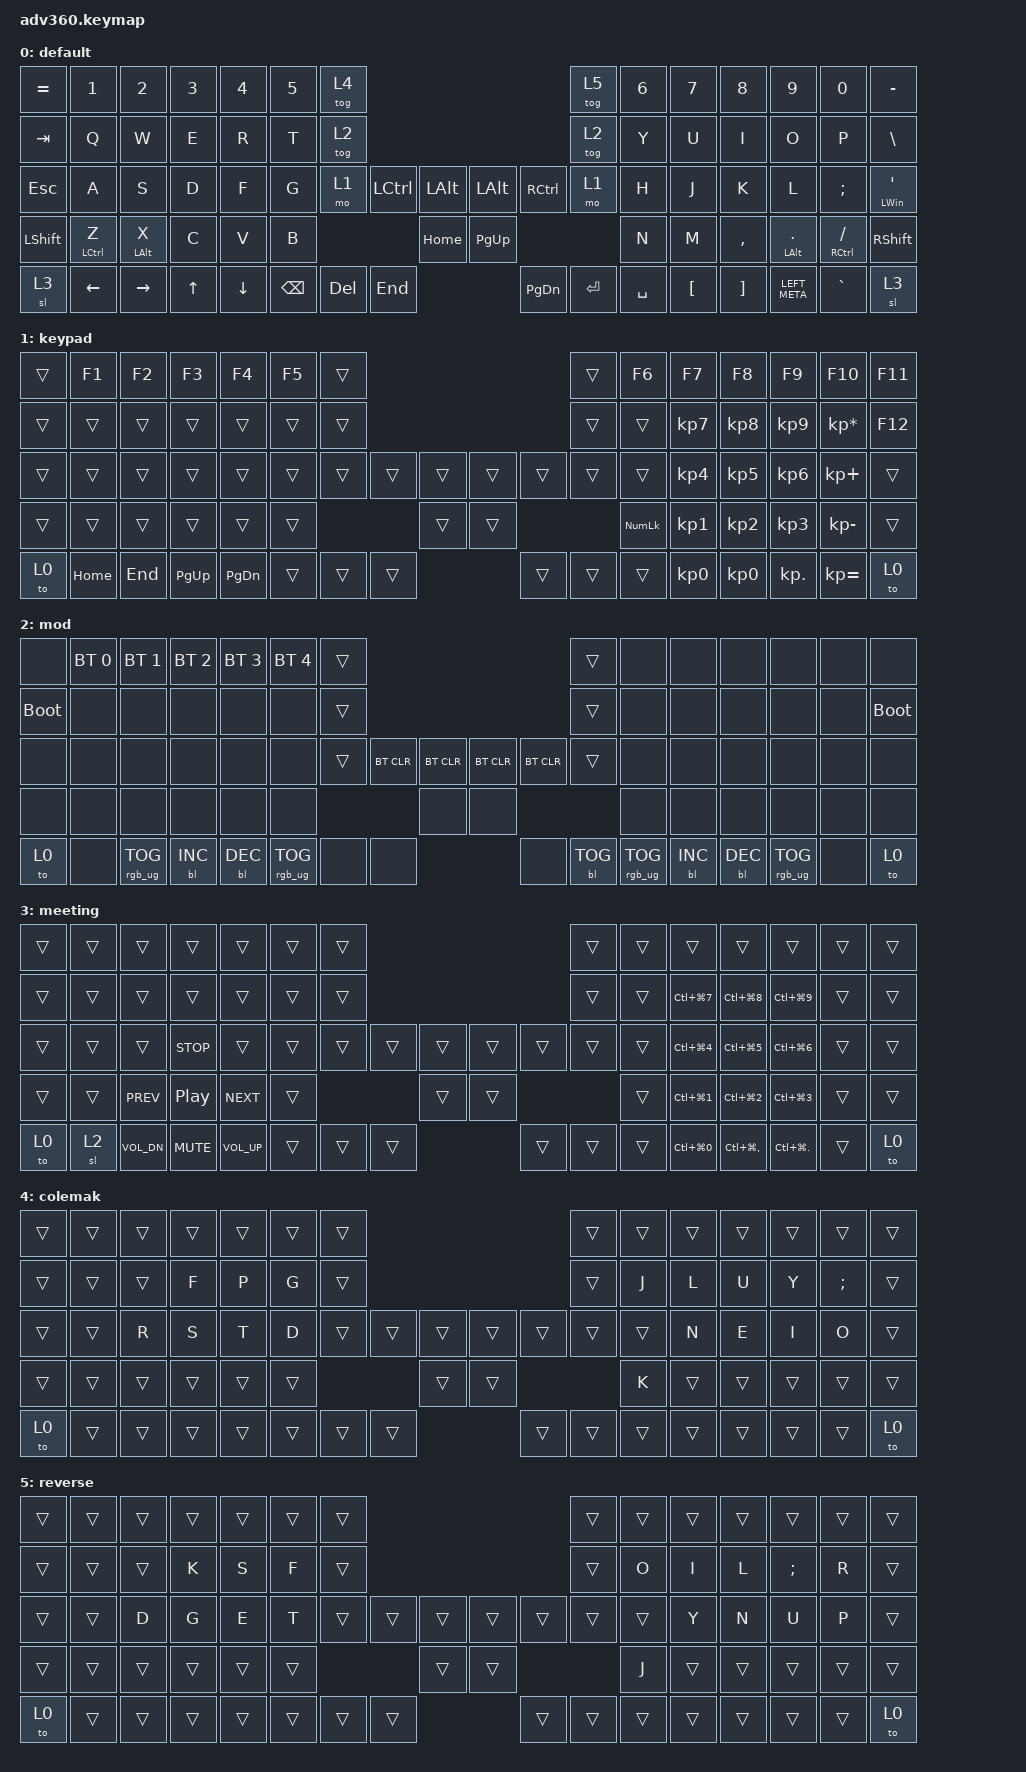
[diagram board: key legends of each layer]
/*
 * Copyright (c) 2020 The ZMK Contributors
 *
 * SPDX-License-Identifier: MIT
 */
/* THIS FILE WAS GENERATED!
 *
 * This file was generated automatically. You may or may not want to
 * edit it directly.
 */

#include <behaviors.dtsi>
#include <dt-bindings/zmk/backlight.h>
#include <dt-bindings/zmk/bt.h>
#include <dt-bindings/zmk/keys.h>
#include <dt-bindings/zmk/rgb.h>
#include <dt-bindings/zmk/stp.h>
#include <dt-bindings/zmk/backlight.h>
#include <dt-bindings/zmk/pointing.h>

/ {
    behaviors {
        #include "macros.dtsi"
    #include "version.dtsi"

        hm: homerow_mods {
            compatible = "zmk,behavior-hold-tap";
            label = "HOMEROW_MODS";
            #binding-cells = <2>;
            tapping-term-ms = <200>;
            quick_tap_ms = <175>;
            flavor = "tap-preferred";
            bindings = <&kp>, <&kp>;
        };
    };

    keymap {
        compatible = "zmk,keymap";

        default {
            bindings = <
&kp EQUAL  &kp N1              &kp N2          &kp N3  &kp N4    &kp N5  &tog 4                                                                    &tog 5  &kp N6  &kp N7    &kp N8     &kp N9               &kp N0                   &kp MINUS
&kp TAB    &kp Q               &kp W           &kp E   &kp R     &kp T   &tog 2                                                                    &tog 2  &kp Y   &kp U     &kp I      &kp O                &kp P                    &kp BSLH
&kp ESC    &kp A               &kp S           &kp D   &kp F     &kp G   &mo 1             &kp LCTRL  &kp LALT    &kp LALT   &kp RCTRL             &mo 1   &kp H   &kp J     &kp K      &kp L                &kp SEMI                 &hm LEFT_WIN APOSTROPHE
&kp LSHFT  &hm LEFT_CONTROL Z  &hm LEFT_ALT X  &kp C   &kp V     &kp B                                &kp HOME    &kp PG_UP                                &kp N   &kp M     &kp COMMA  &hm LEFT_ALT PERIOD  &hm RIGHT_CONTROL SLASH  &kp RSHFT
&sl 3      &kp LEFT            &kp RIGHT       &kp UP  &kp DOWN                  &kp BSPC  &kp DEL    &kp END     &kp PG_DN  &kp ENTER  &kp SPACE                  &kp LBKT  &kp RBKT   &kp LEFT_META        &kp GRAVE                &sl 3
            >;
        };

        keypad {
            bindings = <
&trans  &kp F1    &kp F2   &kp F3       &kp F4         &kp F5  &trans                                                    &trans  &kp F6      &kp F7     &kp F8     &kp F9      &kp F10          &kp F11
&trans  &trans    &trans   &trans       &trans         &trans  &trans                                                    &trans  &trans      &kp KP_N7  &kp KP_N8  &kp KP_N9   &kp KP_ASTERISK  &kp F12
&trans  &trans    &trans   &trans       &trans         &trans  &trans          &trans  &trans    &trans  &trans          &trans  &trans      &kp KP_N4  &kp KP_N5  &kp KP_N6   &kp KP_PLUS      &trans
&trans  &trans    &trans   &trans       &trans         &trans                          &trans    &trans                          &kp KP_NUM  &kp KP_N1  &kp KP_N2  &kp KP_N3   &kp KP_MINUS     &trans
&to 0   &kp HOME  &kp END  &kp PAGE_UP  &kp PAGE_DOWN                  &trans  &trans  &trans    &trans  &trans  &trans                      &kp KP_N0  &kp KP_N0  &kp KP_DOT  &kp KP_EQUAL     &to 0
            >;
        };

        mod {
            bindings = <
&none        &bt BT_SEL 0  &bt BT_SEL 1     &bt BT_SEL 2  &bt BT_SEL 3  &bt BT_SEL 4  &trans                                                                                      &trans  &none  &none       &none       &none            &none  &none
&bootloader  &none         &none            &none         &none         &none         &trans                                                                                      &trans  &none  &none       &none       &none            &none  &bootloader
&none        &none         &none            &none         &none         &none         &trans                   &bt BT_CLR  &bt BT_CLR    &bt BT_CLR  &bt BT_CLR                   &trans  &none  &none       &none       &none            &none  &none
&none        &none         &none            &none         &none         &none                                              &none         &none                                            &none  &none       &none       &none            &none  &none
&to 0        &none         &rgb_ug RGB_TOG  &bl BL_INC    &bl BL_DEC                          &rgb_ug RGB_TOG  &none       &none         &none       &bl BL_TOG  &rgb_ug RGB_TOG                 &bl BL_INC  &bl BL_DEC  &rgb_ug RGB_TOG  &none  &to 0
            >;
        };

        meeting {
            bindings = <
&trans  &trans  &trans        &trans      &trans        &trans  &trans                                                    &trans  &trans  &trans          &trans             &trans              &trans  &trans
&trans  &trans  &trans        &trans      &trans        &trans  &trans                                                    &trans  &trans  &kp LC(LG(N7))  &kp LC(LG(N8))     &kp LC(LG(N9))      &trans  &trans
&trans  &trans  &trans        &kp C_STOP  &trans        &trans  &trans          &trans  &trans    &trans  &trans          &trans  &trans  &kp LC(LG(N4))  &kp LC(LG(N5))     &kp LC(LG(N6))      &trans  &trans
&trans  &trans  &kp C_PREV    &kp C_PP    &kp C_NEXT    &trans                          &trans    &trans                          &trans  &kp LC(LG(N1))  &kp LC(LG(N2))     &kp LC(LG(N3))      &trans  &trans
&to 0   &sl 2   &kp C_VOL_DN  &kp C_MUTE  &kp C_VOL_UP                  &trans  &trans  &trans    &trans  &trans  &trans                  &kp LC(LG(N0))  &kp LC(LG(COMMA))  &kp LC(LG(PERIOD))  &trans  &to 0
            >;
        };

        colemak {
            bindings = <
&trans  &trans  &trans  &trans  &trans  &trans  &trans                                                    &trans  &trans  &trans  &trans  &trans  &trans         &trans
&trans  &trans  &trans  &kp F   &kp P   &kp G   &trans                                                    &trans  &kp J   &kp L   &kp U   &kp Y   &kp SEMICOLON  &trans
&trans  &trans  &kp R   &kp S   &kp T   &kp D   &trans          &trans  &trans    &trans  &trans          &trans  &trans  &kp N   &kp E   &kp I   &kp O          &trans
&trans  &trans  &trans  &trans  &trans  &trans                          &trans    &trans                          &kp K   &trans  &trans  &trans  &trans         &trans
&to 0   &trans  &trans  &trans  &trans                  &trans  &trans  &trans    &trans  &trans  &trans                  &trans  &trans  &trans  &trans         &to 0
            >;
        };

        reverse {
            bindings = <
&trans  &trans  &trans  &trans  &trans  &trans  &trans                                                    &trans  &trans  &trans  &trans  &trans    &trans  &trans
&trans  &trans  &trans  &kp K   &kp S   &kp F   &trans                                                    &trans  &kp O   &kp I   &kp L   &kp SEMI  &kp R   &trans
&trans  &trans  &kp D   &kp G   &kp E   &kp T   &trans          &trans  &trans    &trans  &trans          &trans  &trans  &kp Y   &kp N   &kp U     &kp P   &trans
&trans  &trans  &trans  &trans  &trans  &trans                          &trans    &trans                          &kp J   &trans  &trans  &trans    &trans  &trans
&to 0   &trans  &trans  &trans  &trans                  &trans  &trans  &trans    &trans  &trans  &trans                  &trans  &trans  &trans    &trans  &to 0
            >;
        };

    extra1 { 
      display-name = "Red";    
      status = "reserved";
    };

    extra2 { 
      display-name = "Purple";    
      status = "reserved";
    };

    extra3 { 
      display-name = "Cyan";    
      status = "reserved";
    };

    extra4 { 
      display-name = "Yellow";    
      status = "reserved";
    };
  };
};

